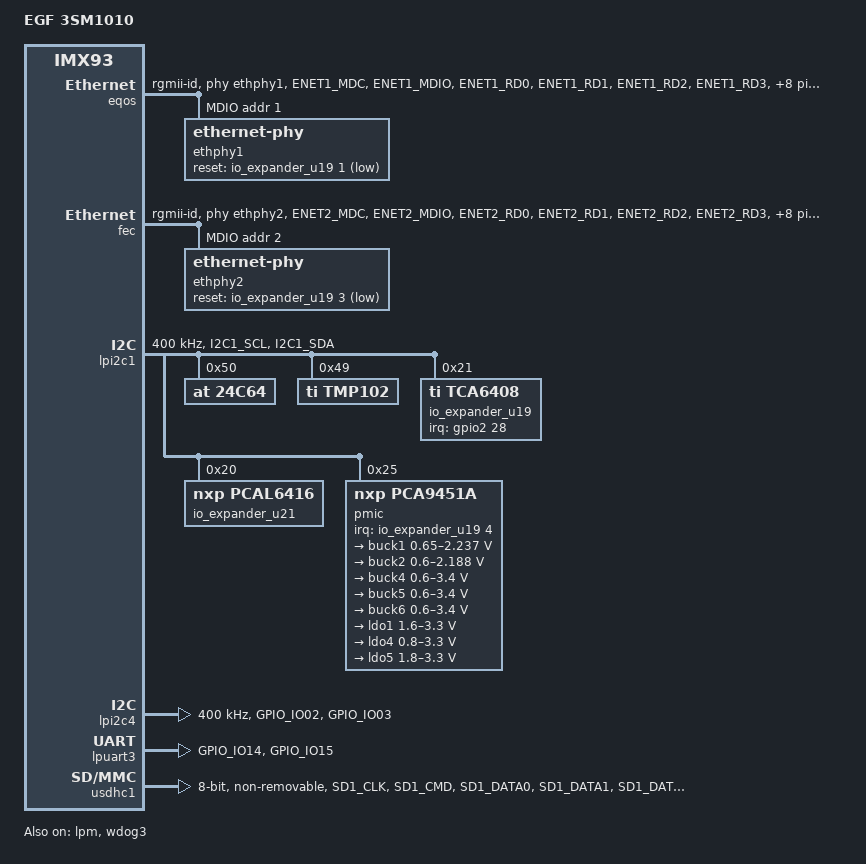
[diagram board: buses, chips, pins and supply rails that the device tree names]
// SPDX-License-Identifier: (GPL-2.0+ OR MIT)
/*
 * Copyright 2022 NXP
 * Copyright 2025 Elettronica GF s.r.l
 */

/dts-v1/;

#include <dt-bindings/usb/pd.h>
#include "imx93.dtsi"

&ele_fw2 {
	memory-region = <&ele_reserved>;
};

/ {
	model = "EGF 3SM1010";
	compatible = "fsl,imx93";

	chosen {
		stdout-path = &lpuart3;
	};

	reserved-memory {
		#address-cells = <2>;
		#size-cells = <2>;
		ranges;

		linux,cma {
			compatible = "shared-dma-pool";
			reusable;
			alloc-ranges = <0 0x80000000 0 0x30000000>;
			size = <0 0x10000000>;
			linux,cma-default;
		};

		ethosu_mem: ethosu_region@B0000000 {
			compatible = "shared-dma-pool";
			reusable;
			reg = <0x0 0xB0000000 0x0 0x10000000>;
		};

		vdev0vring0: vdev0vring0@a4000000 {
			reg = <0 0xa4000000 0 0x8000>;
			no-map;
		};

		vdev0vring1: vdev0vring1@a4008000 {
			reg = <0 0xa4008000 0 0x8000>;
			no-map;
		};

		vdev1vring0: vdev1vring0@a4010000 {
			reg = <0 0xa4010000 0 0x8000>;
			no-map;
		};

		vdev1vring1: vdev1vring1@a4018000 {
			reg = <0 0xa4018000 0 0x8000>;
			no-map;
		};

		rsc_table: rsc-table@2021e000 {
			reg = <0 0x2021e000 0 0x1000>;
			no-map;
		};

		vdevbuffer: vdevbuffer@a4020000 {
			compatible = "shared-dma-pool";
			reg = <0 0xa4020000 0 0x100000>;
			no-map;
		};

		ele_reserved: ele-reserved@a4120000 {
			compatible = "shared-dma-pool";
			reg = <0 0xa4120000 0 0x100000>;
			no-map;
		};
	};

	ethosu {
		compatible = "arm,ethosu";
		fsl,cm33-proc = <&cm33>;
		memory-region = <&ethosu_mem>;
		power-domains = <&mlmix>;
	};

};


&eqos {
	pinctrl-names = "default", "sleep";
	pinctrl-0 = <&pinctrl_eqos>;
	pinctrl-1 = <&pinctrl_eqos_sleep>;
	phy-mode = "rgmii-id";
	phy-handle = <&ethphy1>;
	status = "okay";

	mdio {
		compatible = "snps,dwmac-mdio";
		#address-cells = <1>;
		#size-cells = <0>;
		clock-frequency = <5000000>;

		ethphy1: ethernet-phy@1 {
			reg = <1>;
			eee-broken-1000t;
			reset-gpios = <&io_expander_u19 1 GPIO_ACTIVE_LOW>;
			reset-assert-us = <10000>;
			reset-deassert-us = <80000>;
			realtek,clkout-disable;
		};
	};
};

&fec {
	pinctrl-names = "default", "sleep";
	pinctrl-0 = <&pinctrl_fec>;
	pinctrl-1 = <&pinctrl_fec_sleep>;
	phy-mode = "rgmii-id";
	phy-handle = <&ethphy2>;
	fsl,magic-packet;
	status = "okay";

	mdio {
		#address-cells = <1>;
		#size-cells = <0>;
		clock-frequency = <5000000>;

		ethphy2: ethernet-phy@2 {
			reg = <2>;
			eee-broken-1000t;
			reset-gpios = <&io_expander_u19 3 GPIO_ACTIVE_LOW>;
			reset-assert-us = <10000>;
			reset-deassert-us = <80000>;
			realtek,clkout-disable;
		};
	};
};

&lpm {
	soc-supply = <&buck1>;
 	status = "okay";
};


&lpi2c1 {
	#address-cells = <1>;
	#size-cells = <0>;
	clock-frequency = <400000>;
	pinctrl-names = "default", "sleep";
	pinctrl-0 = <&pinctrl_lpi2c1>;
	pinctrl-1 = <&pinctrl_lpi2c1>;
	status = "okay";

	// EEPROM SoM
	24c64@50 {
		compatible = "at,24c64";
		pinctrl-names = "default";
		reg = <0x50>;
	};

	// Temp Sensor SoM
	tmp102@49 {
		compatible = "ti,tmp102";
		reg = <0x49>;
	};

	io_expander_u19: gpio@21 {
		compatible = "ti,tca6408";
		reg = <0x21>;
		pinctrl-0 = <&pinctrl_io_expander_u19>;
		gpio-controller;
		#gpio-cells = <2>;
		interrupt-controller;
		#interrupt-cells = <2>;
		interrupt-parent = <&gpio2>;
		interrupts = <28 IRQ_TYPE_LEVEL_LOW>;
		status = "okay";
	};
	
	io_expander_u21: gpio@20 {	
		compatible = "nxp,pcal6416";
		#address-cells = <1>;
		#size-cells = <0>;
		gpio-controller;
		#gpio-cells = <2>;
		reg = <0x20>;
		status = "okay";
	};

	pmic@25 {
		compatible = "nxp,pca9451a";
		reg = <0x25>;
		interrupt-parent = <&io_expander_u19>;
		interrupts = <4 IRQ_TYPE_EDGE_FALLING>;

		regulators {
			buck1: BUCK1 {
				regulator-name = "BUCK1";
				regulator-min-microvolt = <650000>;
				regulator-max-microvolt = <2237500>;
				regulator-boot-on;
				regulator-always-on;
				regulator-ramp-delay = <3125>;
			};

			buck2: BUCK2 {
				regulator-name = "BUCK2";
				regulator-min-microvolt = <600000>;
				regulator-max-microvolt = <2187500>;
				regulator-boot-on;
				regulator-always-on;
				regulator-ramp-delay = <3125>;
			};

			buck4: BUCK4{
				regulator-name = "BUCK4";
				regulator-min-microvolt = <600000>;
				regulator-max-microvolt = <3400000>;
				regulator-boot-on;
				regulator-always-on;
			};

			buck5: BUCK5{
				regulator-name = "BUCK5";
				regulator-min-microvolt = <600000>;
				regulator-max-microvolt = <3400000>;
				regulator-boot-on;
				regulator-always-on;
			};

			buck6: BUCK6 {
				regulator-name = "BUCK6";
				regulator-min-microvolt = <600000>;
				regulator-max-microvolt = <3400000>;
				regulator-boot-on;
				regulator-always-on;
			};

			ldo1: LDO1 {
				regulator-name = "LDO1";
				regulator-min-microvolt = <1600000>;
				regulator-max-microvolt = <3300000>;
				regulator-boot-on;
				regulator-always-on;
			};

			ldo4: LDO4 {
				regulator-name = "LDO4";
				regulator-min-microvolt = <800000>;
				regulator-max-microvolt = <3300000>;
				regulator-boot-on;
				regulator-always-on;
			};

			ldo5: LDO5 {
				regulator-name = "LDO5";
				regulator-min-microvolt = <1800000>;
				regulator-max-microvolt = <3300000>;
				regulator-boot-on;
				regulator-always-on;
			};
		};
	};

};

&lpi2c4 {
	#address-cells = <1>;
	#size-cells = <0>;
	clock-frequency = <400000>;
	pinctrl-names = "default", "sleep";
	pinctrl-0 = <&pinctrl_lpi2c4>;
	pinctrl-1 = <&pinctrl_lpi2c4>;
	status = "okay";
};



&lpi2c8 {
	#address-cells = <1>;
	#size-cells = <0>;
	clock-frequency = <400000>;
	pinctrl-names = "default", "sleep";
	pinctrl-0 = <&pinctrl_lpi2c8>;
	pinctrl-1 = <&pinctrl_lpi2c8>;
	status = "disabled";
};

&lpuart3 { /* console */
	pinctrl-names = "default";
	pinctrl-0 = <&pinctrl_uart3>;
	status = "okay";
};


&usdhc1 {
	pinctrl-names = "default", "state_100mhz", "state_200mhz";
	pinctrl-0 = <&pinctrl_usdhc1>;
	pinctrl-1 = <&pinctrl_usdhc1_100mhz>;
	pinctrl-2 = <&pinctrl_usdhc1_200mhz>;
	bus-width = <8>;
	non-removable;
	status = "okay";
};


&wdog3 {
	status = "okay";
};

&iomuxc {
	pinctrl_eqos: eqosgrp {
		fsl,pins = <
			MX93_PAD_ENET1_MDC__ENET_QOS_MDC			0x57e
			MX93_PAD_ENET1_MDIO__ENET_QOS_MDIO			0x57e
			MX93_PAD_ENET1_RD0__ENET_QOS_RGMII_RD0			0x57e
			MX93_PAD_ENET1_RD1__ENET_QOS_RGMII_RD1			0x57e
			MX93_PAD_ENET1_RD2__ENET_QOS_RGMII_RD2			0x57e
			MX93_PAD_ENET1_RD3__ENET_QOS_RGMII_RD3			0x57e
			MX93_PAD_ENET1_RXC__CCM_ENET_QOS_CLOCK_GENERATE_RX_CLK	0x58e
			MX93_PAD_ENET1_RX_CTL__ENET_QOS_RGMII_RX_CTL		0x57e
			MX93_PAD_ENET1_TD0__ENET_QOS_RGMII_TD0			0x57e
			MX93_PAD_ENET1_TD1__ENET_QOS_RGMII_TD1			0x57e
			MX93_PAD_ENET1_TD2__ENET_QOS_RGMII_TD2			0x57e
			MX93_PAD_ENET1_TD3__ENET_QOS_RGMII_TD3			0x57e
			MX93_PAD_ENET1_TXC__CCM_ENET_QOS_CLOCK_GENERATE_TX_CLK	0x58e
			MX93_PAD_ENET1_TX_CTL__ENET_QOS_RGMII_TX_CTL		0x57e
		>;
		
	};

	pinctrl_eqos_sleep: eqosgrpsleep {
		fsl,pins = <
			MX93_PAD_ENET1_MDC__GPIO4_IO00				0x31e
			MX93_PAD_ENET1_MDIO__GPIO4_IO01				0x31e
			MX93_PAD_ENET1_RD0__GPIO4_IO10                          0x31e
			MX93_PAD_ENET1_RD1__GPIO4_IO11				0x31e
			MX93_PAD_ENET1_RD2__GPIO4_IO12				0x31e
			MX93_PAD_ENET1_RD3__GPIO4_IO13				0x31e
			MX93_PAD_ENET1_RXC__GPIO4_IO09                          0x31e
			MX93_PAD_ENET1_RX_CTL__GPIO4_IO08			0x31e
			MX93_PAD_ENET1_TD0__GPIO4_IO05                          0x31e
			MX93_PAD_ENET1_TD1__GPIO4_IO04                          0x31e
			MX93_PAD_ENET1_TD2__GPIO4_IO03				0x31e
			MX93_PAD_ENET1_TD3__GPIO4_IO02				0x31e
			MX93_PAD_ENET1_TXC__GPIO4_IO07                          0x31e
			MX93_PAD_ENET1_TX_CTL__GPIO4_IO06                       0x31e
		>;
	};

	pinctrl_fec: fecgrp {
		fsl,pins = <
			MX93_PAD_ENET2_MDC__ENET1_MDC			0x57e
			MX93_PAD_ENET2_MDIO__ENET1_MDIO			0x57e
			MX93_PAD_ENET2_RD0__ENET1_RGMII_RD0		0x57e
			MX93_PAD_ENET2_RD1__ENET1_RGMII_RD1		0x57e
			MX93_PAD_ENET2_RD2__ENET1_RGMII_RD2		0x57e
			MX93_PAD_ENET2_RD3__ENET1_RGMII_RD3		0x57e
			MX93_PAD_ENET2_RXC__ENET1_RGMII_RXC		0x58e
			MX93_PAD_ENET2_RX_CTL__ENET1_RGMII_RX_CTL	0x57e
			MX93_PAD_ENET2_TD0__ENET1_RGMII_TD0		0x57e
			MX93_PAD_ENET2_TD1__ENET1_RGMII_TD1		0x57e
			MX93_PAD_ENET2_TD2__ENET1_RGMII_TD2		0x57e
			MX93_PAD_ENET2_TD3__ENET1_RGMII_TD3		0x57e
			MX93_PAD_ENET2_TXC__ENET1_RGMII_TXC		0x58e
			MX93_PAD_ENET2_TX_CTL__ENET1_RGMII_TX_CTL	0x57e
		>;
	};

	pinctrl_fec_sleep: fecsleepgrp {
		fsl,pins = <
			MX93_PAD_ENET2_MDC__GPIO4_IO14			0x51e
			MX93_PAD_ENET2_MDIO__GPIO4_IO15			0x51e
			MX93_PAD_ENET2_RD0__GPIO4_IO24			0x51e
			MX93_PAD_ENET2_RD1__GPIO4_IO25			0x51e
			MX93_PAD_ENET2_RD2__GPIO4_IO26			0x51e
			MX93_PAD_ENET2_RD3__GPIO4_IO27			0x51e
			MX93_PAD_ENET2_RXC__GPIO4_IO23                  0x51e
			MX93_PAD_ENET2_RX_CTL__GPIO4_IO22		0x51e
			MX93_PAD_ENET2_TD0__GPIO4_IO19			0x51e
			MX93_PAD_ENET2_TD1__GPIO4_IO18			0x51e
			MX93_PAD_ENET2_TD2__GPIO4_IO17			0x51e
			MX93_PAD_ENET2_TD3__GPIO4_IO16			0x51e
			MX93_PAD_ENET2_TXC__GPIO4_IO21                  0x51e
			MX93_PAD_ENET2_TX_CTL__GPIO4_IO20               0x51e
		>;
	};


	pinctrl_lpi2c1: lpi2c1grp {
		fsl,pins = <
			MX93_PAD_I2C1_SCL__LPI2C1_SCL			0x40000b9e
			MX93_PAD_I2C1_SDA__LPI2C1_SDA			0x40000b9e
		>;
	};

	pinctrl_lpi2c2: lpi2c2grp {
		fsl,pins = <
			MX93_PAD_I2C2_SCL__LPI2C2_SCL			0x40000b9e
			MX93_PAD_I2C2_SDA__LPI2C2_SDA			0x40000b9e
		>;
	};


	pinctrl_lpi2c4: lpi2c4grp {
		fsl,pins = <
			MX93_PAD_GPIO_IO02__LPI2C4_SDA			0x40000b9e
			MX93_PAD_GPIO_IO03__LPI2C4_SCL			0x40000b9e
		>;
	};


	pinctrl_lpi2c8: lpi2c8grp {
		fsl,pins = <
			MX93_PAD_GPIO_IO12__LPI2C8_SDA		0x40000b9e
			MX93_PAD_GPIO_IO11__LPI2C8_SCL		0x40000b9e
		>;
	};

	pinctrl_io_expander_u19: ioexpanderu19grp {
		fsl,pins = <
			MX93_PAD_GPIO_IO28__GPIO2_IO28			0x31e
		>;
	};

	pinctrl_uart3: uart3grp {
		fsl,pins = <
			MX93_PAD_GPIO_IO14__LPUART3_TX			0x31e
			MX93_PAD_GPIO_IO15__LPUART3_RX			0x31e
		>;
	};

	/* need to config the SION for data and cmd pad, refer to ERR052021 */
	pinctrl_usdhc1: usdhc1grp {
		fsl,pins = <
			MX93_PAD_SD1_CLK__USDHC1_CLK		0x1582
			MX93_PAD_SD1_CMD__USDHC1_CMD		0x40001382
			MX93_PAD_SD1_DATA0__USDHC1_DATA0	0x40001382
			MX93_PAD_SD1_DATA1__USDHC1_DATA1	0x40001382
			MX93_PAD_SD1_DATA2__USDHC1_DATA2	0x40001382
			MX93_PAD_SD1_DATA3__USDHC1_DATA3	0x40001382
			MX93_PAD_SD1_DATA4__USDHC1_DATA4	0x40001382
			MX93_PAD_SD1_DATA5__USDHC1_DATA5	0x40001382
			MX93_PAD_SD1_DATA6__USDHC1_DATA6	0x40001382
			MX93_PAD_SD1_DATA7__USDHC1_DATA7	0x40001382
			MX93_PAD_SD1_STROBE__USDHC1_STROBE	0x1582
		>;
	};

	/* need to config the SION for data and cmd pad, refer to ERR052021 */
	pinctrl_usdhc1_100mhz: usdhc1-100mhzgrp {
		fsl,pins = <
			MX93_PAD_SD1_CLK__USDHC1_CLK		0x158e
			MX93_PAD_SD1_CMD__USDHC1_CMD		0x4000138e
			MX93_PAD_SD1_DATA0__USDHC1_DATA0	0x4000138e
			MX93_PAD_SD1_DATA1__USDHC1_DATA1	0x4000138e
			MX93_PAD_SD1_DATA2__USDHC1_DATA2	0x4000138e
			MX93_PAD_SD1_DATA3__USDHC1_DATA3	0x4000138e
			MX93_PAD_SD1_DATA4__USDHC1_DATA4	0x4000138e
			MX93_PAD_SD1_DATA5__USDHC1_DATA5	0x4000138e
			MX93_PAD_SD1_DATA6__USDHC1_DATA6	0x4000138e
			MX93_PAD_SD1_DATA7__USDHC1_DATA7	0x4000138e
			MX93_PAD_SD1_STROBE__USDHC1_STROBE	0x158e
		>;
	};

	/* need to config the SION for data and cmd pad, refer to ERR052021 */
	pinctrl_usdhc1_200mhz: usdhc1-200mhzgrp {
		fsl,pins = <
			MX93_PAD_SD1_CLK__USDHC1_CLK		0x15fe
			MX93_PAD_SD1_CMD__USDHC1_CMD		0x400013fe
			MX93_PAD_SD1_DATA0__USDHC1_DATA0	0x400013fe
			MX93_PAD_SD1_DATA1__USDHC1_DATA1	0x400013fe
			MX93_PAD_SD1_DATA2__USDHC1_DATA2	0x400013fe
			MX93_PAD_SD1_DATA3__USDHC1_DATA3	0x400013fe
			MX93_PAD_SD1_DATA4__USDHC1_DATA4	0x400013fe
			MX93_PAD_SD1_DATA5__USDHC1_DATA5	0x400013fe
			MX93_PAD_SD1_DATA6__USDHC1_DATA6	0x400013fe
			MX93_PAD_SD1_DATA7__USDHC1_DATA7	0x400013fe
			MX93_PAD_SD1_STROBE__USDHC1_STROBE	0x15fe
		>;
	};

};

